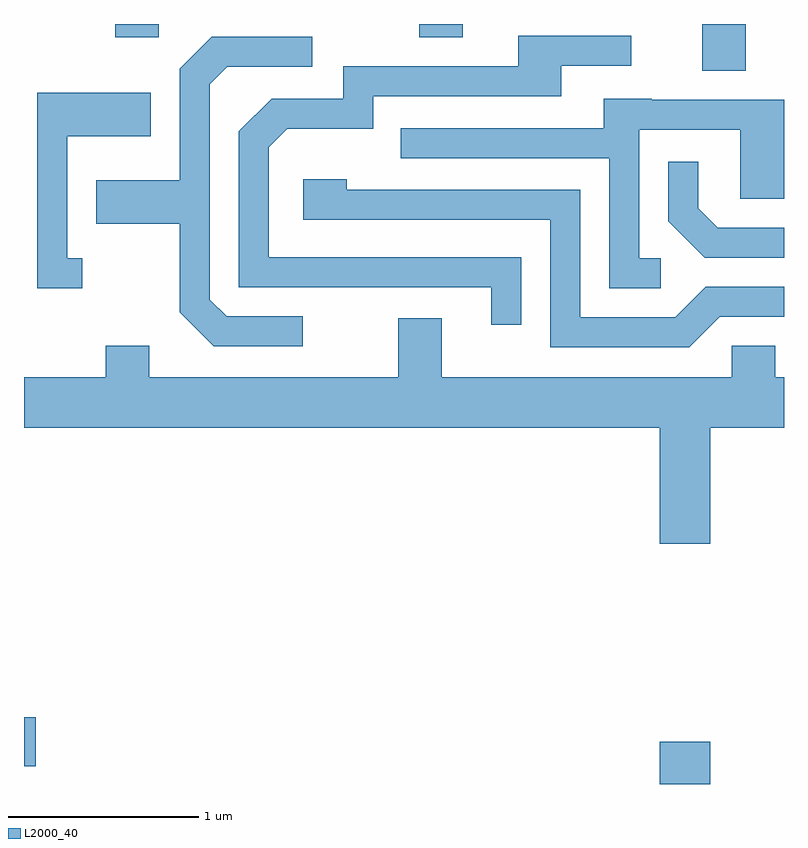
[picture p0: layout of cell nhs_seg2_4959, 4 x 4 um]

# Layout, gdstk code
import gdstk
lib = gdstk.Library(unit=1e-6, precision=1e-09)
def R(c, l, rs):  # rectangles x0, y0, x1, y1
    for r in rs: c.add(gdstk.rectangle(r[:2], r[2:], *l))
def P(c, l, *ps):  # polygons
    for p in ps: c.add(gdstk.Polygon(p, *l))
L2000_40 = (2000, 40)

nhs_seg2_4959 = lib.new_cell('nhs_seg2_4959')
R(nhs_seg2_4959, L2000_40, [(334.956,1019.802,335.224,1020.024), (331.611,1019.896,331.674,1020.154), (335.181,1023.556,335.409,1023.802), (332.091,1023.731,332.319,1023.802), (333.691,1023.731,333.919,1023.802)])
P(nhs_seg2_4959, L2000_40, [(334.229,1022.574),(332.899,1022.574),(332.899,1023.154),(332.997,1023.251),(333.449,1023.251),(333.449,1023.421),(334.439,1023.421),(334.439,1023.581),(334.808,1023.581),(334.808,1023.739),(334.211,1023.739),(334.211,1023.579),(333.291,1023.579),(333.291,1023.409),(332.914,1023.409),(332.741,1023.237),(332.741,1022.416),(334.071,1022.416),(334.071,1022.218),(334.229,1022.218)],
  [(333.078,1022.264),(332.677,1022.264),(332.589,1022.352),(332.589,1023.484),(332.682,1023.576),(333.128,1023.576),(333.128,1023.734),(332.599,1023.734),(332.431,1023.567),(332.431,1022.979),(331.991,1022.979),(331.991,1022.751),(332.431,1022.751),(332.431,1022.284),(332.609,1022.106),(333.078,1022.106)],
  [(331.918,1022.569),(331.839,1022.569),(331.839,1023.211),(332.279,1023.211),(332.279,1023.439),(331.681,1023.439),(331.681,1022.411),(331.918,1022.411)],
  [(334.963,1022.569),(334.849,1022.569),(334.849,1023.246),(335.381,1023.246),(335.381,1022.881),(335.611,1022.881),(335.611,1023.404),(334.915,1023.404),(334.915,1023.409),(334.661,1023.409),(334.661,1023.254),(333.593,1023.254),(333.593,1023.096),(334.691,1023.096),(334.691,1022.411),(334.963,1022.411)],
  [(335.611,1022.729),(335.262,1022.729),(335.159,1022.832),(335.159,1023.078),(335.001,1023.078),(335.001,1022.764),(335.194,1022.571),(335.611,1022.571)],
  [(335.272,1022.261),(335.611,1022.261),(335.611,1022.419),(335.199,1022.419),(335.039,1022.259),(334.539,1022.259),(334.539,1022.929),(333.309,1022.929),(333.309,1022.984),(333.081,1022.984),(333.081,1022.771),(334.381,1022.771),(334.381,1022.101),(335.112,1022.101)],
  [(334.956,1021.066),(335.224,1021.066),(335.224,1021.676),(335.611,1021.676),(335.611,1021.944),(335.564,1021.944),(335.564,1022.109),(335.336,1022.109),(335.336,1021.944),(333.809,1021.944),(333.809,1022.254),(333.581,1022.254),(333.581,1021.944),(332.269,1021.944),(332.269,1022.109),(332.041,1022.109),(332.041,1021.944),(331.611,1021.944),(331.611,1021.676),(334.956,1021.676)])

lib.write_gds('nhs_seg2_4959.gds')
